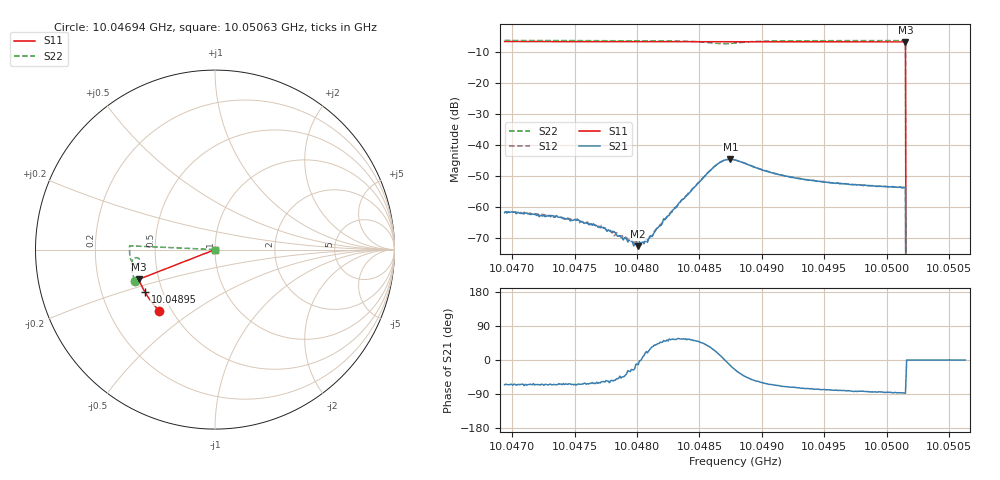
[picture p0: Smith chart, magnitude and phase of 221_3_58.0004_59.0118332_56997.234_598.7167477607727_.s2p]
#  HZ  S  RI  R  50.00
! Rohde & Schwarz Vector Network Analyzer
! Rohde-Schwarz,ZNB20-2Port,1311601062101988,3.16
! Created: UTC 3/21/2024, 1:00:10 AM
! freq[Hz]  re:S11  im:S11  re:S21  im:S21  re:S12  im:S12  re:S22  im:S22
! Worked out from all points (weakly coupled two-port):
!   401 points, 10.04694 GHz to 10.05063 GHz, reference 50 ohm
!   highest |S21| = -44.66 dB at 10.04875 GHz (marker M1); lowest = -72.6 dB at 10.04801 GHz (marker M2)
!   lowest |S11| = -6.8 dB at 10.05015 GHz (marker M3), VSWR 2.67, Z = 19.3 - j8.04 ohm
!   |S11| at or under -10 dB: 10.05015 GHz to end of sweep
!   |S22| runs from - to -6.4 dB; largest |S21 - S12| = 0.0004
!   S11 on the Smith chart (normalised r, x): 10.04694 GHz: 0.43, -0.37; 10.04895 GHz: 0.40, -0.24; 10.05063 GHz: 1.00, +0.00
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1.0046939e10  -0.3093 -0.3413  0.000336 -0.000738  0.00039 -0.000742  -0.447 -0.1734
1.0047308e10  -0.3265 -0.3238  0.000322 -0.000654  0.000306 -0.000621  -0.4548 -0.1492
1.0047557e10  -0.3374 -0.3115  0.000255 -0.000517  0.000287 -0.000504  -0.4594 -0.1321
1.0047733e10  -0.3449 -0.3027  0.00025 -0.000384  0.000275 -0.000379  -0.462 -0.1199
1.0047807e10  -0.3481 -0.2989  0.00023 -0.000336  0.000249 -0.000301  -0.4631 -0.1143
1.0047991e10  -0.3555 -0.2893  0.000256 -5.08e-05  0.000276 -3.45e-05  -0.4649 -0.1
1.004801e10  -0.3564 -0.2884  0.000228 -5.03e-05  0.000252 -7.64e-06  -0.4652 -0.0985
1.0048083e10  -0.3591 -0.2845  0.000255 8.73e-05  0.000264 0.000135  -0.4655 -0.0924
1.0048176e10  -0.3629 -0.2794  0.00035 0.000334  0.000318 0.000366  -0.4657 -0.0845
1.0048351e10  -0.3697 -0.2699  0.000705 0.00102  0.000623 0.00108  -0.4632 -0.0671
1.00486e10  -0.3785 -0.2561  0.00355 0.00207  0.00343 0.00232  -0.4359 -0.0449
1.0048683e10  -0.381 -0.2517  0.00542 0.000624  0.00541 0.000959  -0.4203 -0.0563
1.0048748e10  -0.3833 -0.2481  0.00565 -0.00149  0.00572 -0.00116  -0.4217 -0.073
1.0048785e10  -0.3845 -0.2462  0.00514 -0.00249  0.00532 -0.00215  -0.4283 -0.0794
1.0048951e10  -0.3902 -0.237  0.00242 -0.00354  0.00267 -0.00338  -0.4566 -0.075
1.0049163e10  -0.3973 -0.2247  0.00114 -0.00305  0.00132 -0.00297  -0.4693 -0.0543
1.0049403e10  -0.4045 -0.2105  0.000628 -0.00258  0.000794 -0.00256  -0.4741 -0.0336
1.0050021e10  -0.4207 -0.1731  0.000164 -0.00209  0.000284 -0.0021  -0.4763 0.0123
1.0050132e10  -0.4232 -0.1663  0.000114 -0.00204  0.000233 -0.00205  -0.476 0.0199
1.0050151e10  -0.4236 -0.1652  9.18e-05 -0.00203  0.000227 -0.00206  -0.476 0.0212
1.0050178e10  0 0  0 0  0 0  0 0
1.005063e10  0 0  0 0  0 0  0 0
